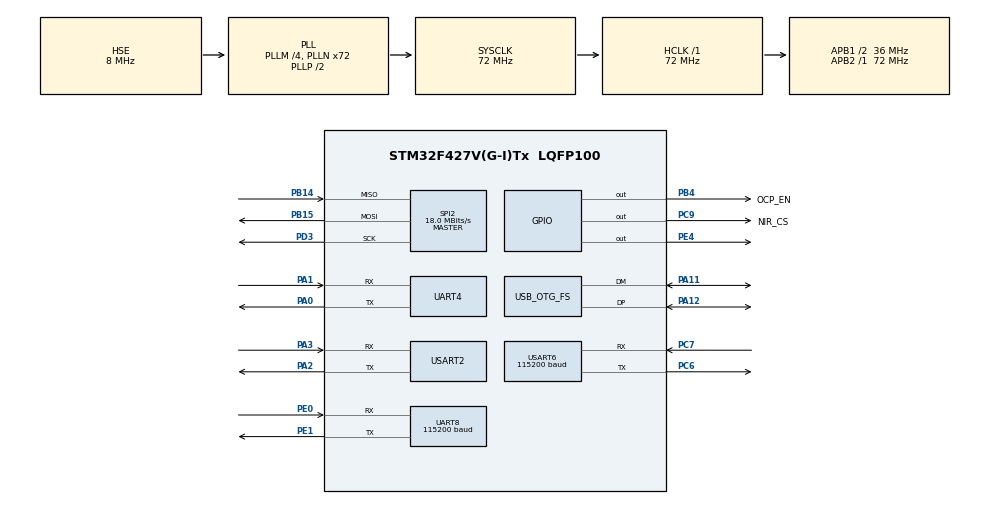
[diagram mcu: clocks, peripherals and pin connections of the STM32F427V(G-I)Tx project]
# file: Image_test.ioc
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Dma.Request0=UART8_RX
Dma.Request1=USART6_RX
Dma.UART8_RX.0.Direction=DMA_PERIPH_TO_MEMORY
Dma.UART8_RX.0.FIFOMode=DMA_FIFOMODE_DISABLE
Dma.UART8_RX.0.Instance=DMA1_Stream6
Dma.UART8_RX.0.MemDataAlignment=DMA_MDATAALIGN_BYTE
Dma.UART8_RX.0.MemInc=DMA_MINC_ENABLE
Dma.UART8_RX.0.Mode=DMA_NORMAL
Dma.UART8_RX.0.PeriphDataAlignment=DMA_PDATAALIGN_BYTE
Dma.UART8_RX.0.PeriphInc=DMA_PINC_DISABLE
Dma.UART8_RX.0.Priority=DMA_PRIORITY_HIGH
Dma.USART6_RX.1.Direction=DMA_PERIPH_TO_MEMORY
Dma.USART6_RX.1.FIFOMode=DMA_FIFOMODE_DISABLE
Dma.USART6_RX.1.Instance=DMA2_Stream1
Dma.USART6_RX.1.MemDataAlignment=DMA_MDATAALIGN_BYTE
Dma.USART6_RX.1.MemInc=DMA_MINC_ENABLE
Dma.USART6_RX.1.Mode=DMA_NORMAL
Dma.USART6_RX.1.PeriphDataAlignment=DMA_PDATAALIGN_BYTE
Dma.USART6_RX.1.PeriphInc=DMA_PINC_DISABLE
Dma.USART6_RX.1.Priority=DMA_PRIORITY_HIGH
Mcu.Family=STM32F4
Mcu.Name=STM32F427V(G-I)Tx
Mcu.Package=LQFP100
NVIC.DMA1_Stream6_IRQn=true\:0\:0\:false\:false\:true\:false\:true\:true
NVIC.DMA2_Stream1_IRQn=true\:0\:0\:false\:false\:true\:false\:true\:true
NVIC.OTG_FS_IRQn=true\:0\:0\:false\:false\:true\:false\:true\:true
NVIC.PriorityGroup=NVIC_PRIORITYGROUP_4
NVIC.UART8_IRQn=true\:1\:0\:true\:false\:true\:true\:true\:true
PA0/WKUP.Mode=Asynchronous
PA0/WKUP.Signal=UART4_TX
PA1.Mode=Asynchronous
PA1.Signal=UART4_RX
PA11.Mode=Device_Only
PA11.Signal=USB_OTG_FS_DM
PA12.Mode=Device_Only
PA12.Signal=USB_OTG_FS_DP
PA13.Mode=Trace_Synchro_1bit_SW
PA13.Signal=SYS_JTMS-SWDIO
PA14.Mode=Trace_Synchro_1bit_SW
PA14.Signal=SYS_JTCK-SWCLK
PA2.Mode=Asynchronous
PA2.Signal=USART2_TX
PA3.Mode=Asynchronous
PA3.Signal=USART2_RX
PB14.Mode=Full_Duplex_Master
PB14.Signal=SPI2_MISO
PB15.Mode=Full_Duplex_Master
PB15.Signal=SPI2_MOSI
PB4.GPIO_Label=OCP_EN
PB4.GPIO_Speed=GPIO_SPEED_FREQ_HIGH
PB4.Signal=GPIO_Output
PC6.Mode=Asynchronous
PC6.Signal=USART6_TX
PC7.Mode=Asynchronous
PC7.Signal=USART6_RX
PC9.GPIO_Label=NIR_CS
PC9.GPIO_Speed=GPIO_SPEED_FREQ_HIGH
PC9.Signal=GPIO_Output
PD3.Mode=Full_Duplex_Master
PD3.Signal=SPI2_SCK
PE0.Mode=Asynchronous
PE0.Signal=UART8_RX
PE1.Mode=Asynchronous
PE1.Signal=UART8_TX
PE2.Mode=Trace_Synchro_1bit_SW
PE2.Signal=SYS_TRACECLK
PE3.Mode=Trace_Synchro_1bit_SW
PE3.Signal=SYS_TRACED0
PE4.Signal=GPIO_Output
PH0/OSC_IN.Mode=HSE-External-Oscillator
PH0/OSC_IN.Signal=RCC_OSC_IN
PH1/OSC_OUT.Mode=HSE-External-Oscillator
PH1/OSC_OUT.Signal=RCC_OSC_OUT
ProjectManager.HeapSize=0x200
ProjectManager.StackSize=0x400
ProjectManager.TargetToolchain=STM32CubeIDE
RCC.48MHZClocksFreq_Value=48000000
RCC.AHBFreq_Value=72000000
RCC.APB1CLKDivider=RCC_HCLK_DIV2
RCC.APB1Freq_Value=36000000
RCC.APB1TimFreq_Value=72000000
RCC.APB2Freq_Value=72000000
RCC.APB2TimFreq_Value=72000000
RCC.CortexFreq_Value=72000000
RCC.HCLKFreq_Value=72000000
RCC.HSE_VALUE=8000000
RCC.HSI_VALUE=16000000
RCC.LSE_VALUE=32768
RCC.PLLM=4
RCC.PLLN=72
RCC.PLLQ=3
RCC.SYSCLKFreq_VALUE=72000000
RCC.SYSCLKSource=RCC_SYSCLKSOURCE_PLLCLK
RCC.VCOOutputFreq_Value=144000000
SPI2.BaudRatePrescaler=SPI_BAUDRATEPRESCALER_2
SPI2.CalculateBaudRate=18.0 MBits/s
SPI2.Direction=SPI_DIRECTION_2LINES
SPI2.Mode=SPI_MODE_MASTER
SPI2.VirtualType=VM_MASTER
UART4.VirtualMode=Asynchronous
UART8.BaudRate=115200
UART8.VirtualMode=Asynchronous
USART2.VirtualMode=VM_ASYNC
USART6.BaudRate=115200
USART6.VirtualMode=VM_ASYNC
USB_DEVICE.CLASS_NAME_FS=CDC
USB_DEVICE.VirtualMode-CDC_FS=Cdc
USB_DEVICE.VirtualModeFS=Cdc_FS
USB_OTG_FS.VirtualMode=Device_Only
VP_USB_DEVICE_VS_USB_DEVICE_CDC_FS.Mode=CDC_FS
board=custom

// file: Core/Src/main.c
/* USER CODE BEGIN Header */
/**
 ******************************************************************************
 * @file           : main.c
 * @brief          : Main program body
 ******************************************************************************
 * @attention
 *
 * Copyright (c) 2024 STMicroelectronics.
 * All rights reserved.
 *
 * This software is licensed under terms that can be found in the LICENSE file
 * in the root directory of this software component.
 * If no LICENSE file comes with this software, it is provided AS-IS.
 *
 ******************************************************************************
 */
/* USER CODE END Header */
#include "main.h"
#include "usb_device.h"

/* USER CODE BEGIN Includes */
#include "Main_config.h"
#include "functions.h"
#include "variables.h"
#include "usb_device.h"
#include "usbd_cdc_if.h"
#include <stdio.h>
#include <string.h>
#include <stdint.h>
#include <stdarg.h>
/* USER CODE END Includes */

/* USER CODE BEGIN PTD */
uint8_t rx_buffer[9];
uint8_t tx_buffer[5] = { 0x1, 0x2, 0x3, 0x4, 0x5 };

int a = 1;

/* USER CODE END PTD */

SPI_HandleTypeDef hspi2;

UART_HandleTypeDef huart4;
UART_HandleTypeDef huart8;
UART_HandleTypeDef huart2;
UART_HandleTypeDef huart6;
DMA_HandleTypeDef hdma_uart8_rx;
DMA_HandleTypeDef hdma_usart6_rx;

/* USER CODE BEGIN PV */

HAL_StatusTypeDef ret;
/* USER CODE END PV */

void SystemClock_Config(void);
static void MX_GPIO_Init(void);
static void MX_DMA_Init(void);
static void MX_UART8_Init(void);
static void MX_UART4_Init(void);
static void MX_USART6_UART_Init(void);
static void MX_SPI2_Init(void);
static void MX_USART2_UART_Init(void);
/* USER CODE BEGIN PFP */
void setup_tx_buffer() {
	strcpy((char*) tx_buffer, "HALO"); // Properly initialize tx_buffer
}

/* USER CODE END PFP */

/* USER CODE BEGIN 0 */
void HAL_UART_RxHalfCpltCallback(UART_HandleTypeDef *huart) {
	if (huart->Instance == UART8) {

	}

}

// void HAL_UART_RxCpltCallback(UART_HandleTypeDef *huart){
////	 uart_rx_done = true;
// }
//
// void HAL_UART_RxCpltCallback(UART_HandleTypeDef *huart) {
//     if (huart->Instance == UART8) {
//
//     }
// }

/* USER CODE END 0 */

int main(void)
{

  /* MCU Configuration--------------------------------------------------------*/

  /* Reset of all peripherals, Initializes the Flash interface and the Systick. */
  HAL_Init();

  /* Configure the system clock */
  SystemClock_Config();

  /* Initialize all configured peripherals */
  MX_GPIO_Init();
  MX_DMA_Init();
  MX_UART8_Init();
  MX_UART4_Init();
  MX_USART6_UART_Init();
  MX_SPI2_Init();
  MX_USART2_UART_Init();
  MX_USB_DEVICE_Init();
  /* USER CODE BEGIN 2 */
//  HAL_UART_Receive_DMA(&huart8, rx_buffer, sizeof(rx_buffer));
  /* USER CODE END 2 */

  /* Infinite loop */
  /* USER CODE BEGIN WHILE */
	while (1) {

		OCP_EN();
//		HAL_UART_Transmit(&huart2, tx_buffer ,sizeof(tx_buffer), 1000);
		//HAL_UART_Receive(&huart4, rx_buffer, sizeof(rx_buffer), 1000);

		BASIC_IMAGE_CAPTURE();
        HAL_Delay(1000);
//	  ret = HAL_ERROR;
//	  ret = HAL_UART_Transmit(&RGB_UART, tx_buffer, sizeof(tx_buffer), 1000);
//	  HAL_Delay(2000);
//	  Receive_Image_Size();  // Function call

//	  if( HAL_UART_Transmit(&RGB_UART, tx_buffer, sizeof(tx_buffer), 1000) == HAL_OK){
//		  ret = 100;
//	  }

//	  uint32_t Receive_Image_Size_RGB();

//	  HAL_Delay(1000);

//	  break;

    /* USER CODE END WHILE */

	}
}

void SystemClock_Config(void)
{
  RCC_OscInitTypeDef RCC_OscInitStruct = {0};
  RCC_ClkInitTypeDef RCC_ClkInitStruct = {0};

  /** Configure the main internal regulator output voltage
  */
  __HAL_RCC_PWR_CLK_ENABLE();
  __HAL_PWR_VOLTAGESCALING_CONFIG(PWR_REGULATOR_VOLTAGE_SCALE3);

  /** Initializes the RCC Oscillators according to the specified parameters
  * in the RCC_OscInitTypeDef structure.
  */
  RCC_OscInitStruct.OscillatorType = RCC_OSCILLATORTYPE_HSE;
  RCC_OscInitStruct.HSEState = RCC_HSE_ON;
  RCC_OscInitStruct.PLL.PLLState = RCC_PLL_ON;
  RCC_OscInitStruct.PLL.PLLSource = RCC_PLLSOURCE_HSE;
  RCC_OscInitStruct.PLL.PLLM = 4;
  RCC_OscInitStruct.PLL.PLLN = 72;
  RCC_OscInitStruct.PLL.PLLP = RCC_PLLP_DIV2;
  RCC_OscInitStruct.PLL.PLLQ = 3;
  if (HAL_RCC_OscConfig(&RCC_OscInitStruct) != HAL_OK)
  {
    Error_Handler();
  }

  /** Initializes the CPU, AHB and APB buses clocks
  */
  RCC_ClkInitStruct.ClockType = RCC_CLOCKTYPE_HCLK|RCC_CLOCKTYPE_SYSCLK
                              |RCC_CLOCKTYPE_PCLK1|RCC_CLOCKTYPE_PCLK2;
  RCC_ClkInitStruct.SYSCLKSource = RCC_SYSCLKSOURCE_PLLCLK;
  RCC_ClkInitStruct.AHBCLKDivider = RCC_SYSCLK_DIV1;
  RCC_ClkInitStruct.APB1CLKDivider = RCC_HCLK_DIV2;
  RCC_ClkInitStruct.APB2CLKDivider = RCC_HCLK_DIV1;

  if (HAL_RCC_ClockConfig(&RCC_ClkInitStruct, FLASH_LATENCY_2) != HAL_OK)
  {
    Error_Handler();
  }
}

static void MX_SPI2_Init(void)
{

  /* SPI2 parameter configuration*/
  hspi2.Instance = SPI2;
  hspi2.Init.Mode = SPI_MODE_MASTER;
  hspi2.Init.Direction = SPI_DIRECTION_2LINES;
  hspi2.Init.DataSize = SPI_DATASIZE_8BIT;
  hspi2.Init.CLKPolarity = SPI_POLARITY_LOW;
  hspi2.Init.CLKPhase = SPI_PHASE_1EDGE;
  hspi2.Init.NSS = SPI_NSS_SOFT;
  hspi2.Init.BaudRatePrescaler = SPI_BAUDRATEPRESCALER_2;
  hspi2.Init.FirstBit = SPI_FIRSTBIT_MSB;
  hspi2.Init.TIMode = SPI_TIMODE_DISABLE;
  hspi2.Init.CRCCalculation = SPI_CRCCALCULATION_DISABLE;
  hspi2.Init.CRCPolynomial = 10;
  if (HAL_SPI_Init(&hspi2) != HAL_OK)
  {
    Error_Handler();
  }

}

static void MX_UART4_Init(void)
{

  huart4.Instance = UART4;
  huart4.Init.BaudRate = 115200;
  huart4.Init.WordLength = UART_WORDLENGTH_8B;
  huart4.Init.StopBits = UART_STOPBITS_1;
  huart4.Init.Parity = UART_PARITY_NONE;
  huart4.Init.Mode = UART_MODE_TX_RX;
  huart4.Init.HwFlowCtl = UART_HWCONTROL_NONE;
  huart4.Init.OverSampling = UART_OVERSAMPLING_16;
  if (HAL_UART_Init(&huart4) != HAL_OK)
  {
    Error_Handler();
  }

}

static void MX_UART8_Init(void)
{

  huart8.Instance = UART8;
  huart8.Init.BaudRate = 115200;
  huart8.Init.WordLength = UART_WORDLENGTH_8B;
  huart8.Init.StopBits = UART_STOPBITS_1;
  huart8.Init.Parity = UART_PARITY_NONE;
  huart8.Init.Mode = UART_MODE_TX_RX;
  huart8.Init.HwFlowCtl = UART_HWCONTROL_NONE;
  huart8.Init.OverSampling = UART_OVERSAMPLING_16;
  if (HAL_UART_Init(&huart8) != HAL_OK)
  {
    Error_Handler();
  }

}

static void MX_USART2_UART_Init(void)
{

  huart2.Instance = USART2;
  huart2.Init.BaudRate = 115200;
  huart2.Init.WordLength = UART_WORDLENGTH_8B;
  huart2.Init.StopBits = UART_STOPBITS_1;
  huart2.Init.Parity = UART_PARITY_NONE;
  huart2.Init.Mode = UART_MODE_TX_RX;
  huart2.Init.HwFlowCtl = UART_HWCONTROL_NONE;
  huart2.Init.OverSampling = UART_OVERSAMPLING_16;
  if (HAL_UART_Init(&huart2) != HAL_OK)
  {
    Error_Handler();
  }

}

static void MX_USART6_UART_Init(void)
{

  huart6.Instance = USART6;
  huart6.Init.BaudRate = 115200;
  huart6.Init.WordLength = UART_WORDLENGTH_8B;
  huart6.Init.StopBits = UART_STOPBITS_1;
  huart6.Init.Parity = UART_PARITY_NONE;
  huart6.Init.Mode = UART_MODE_TX_RX;
  huart6.Init.HwFlowCtl = UART_HWCONTROL_NONE;
  huart6.Init.OverSampling = UART_OVERSAMPLING_16;
  if (HAL_UART_Init(&huart6) != HAL_OK)
  {
    Error_Handler();
  }

}

static void MX_DMA_Init(void)
{

  /* DMA controller clock enable */
  __HAL_RCC_DMA1_CLK_ENABLE();
  __HAL_RCC_DMA2_CLK_ENABLE();

  /* DMA interrupt init */
  /* DMA1_Stream6_IRQn interrupt configuration */
  HAL_NVIC_SetPriority(DMA1_Stream6_IRQn, 0, 0);
  HAL_NVIC_EnableIRQ(DMA1_Stream6_IRQn);
  /* DMA2_Stream1_IRQn interrupt configuration */
  HAL_NVIC_SetPriority(DMA2_Stream1_IRQn, 0, 0);
  HAL_NVIC_EnableIRQ(DMA2_Stream1_IRQn);

}

static void MX_GPIO_Init(void)
{
  GPIO_InitTypeDef GPIO_InitStruct = {0};

  /* GPIO Ports Clock Enable */
  __HAL_RCC_GPIOE_CLK_ENABLE();
  __HAL_RCC_GPIOH_CLK_ENABLE();
  __HAL_RCC_GPIOA_CLK_ENABLE();
  __HAL_RCC_GPIOB_CLK_ENABLE();
  __HAL_RCC_GPIOC_CLK_ENABLE();
  __HAL_RCC_GPIOD_CLK_ENABLE();

  /*Configure GPIO pin Output Level */
  HAL_GPIO_WritePin(GPIOE, GPIO_PIN_4, GPIO_PIN_RESET);

  /*Configure GPIO pin Output Level */
  HAL_GPIO_WritePin(NIR_CS_GPIO_Port, NIR_CS_Pin, GPIO_PIN_RESET);

  /*Configure GPIO pin Output Level */
  HAL_GPIO_WritePin(OCP_EN_GPIO_Port, OCP_EN_Pin, GPIO_PIN_RESET);

  /*Configure GPIO pin : PE4 */
  GPIO_InitStruct.Pin = GPIO_PIN_4;
  GPIO_InitStruct.Mode = GPIO_MODE_OUTPUT_PP;
  GPIO_InitStruct.Pull = GPIO_NOPULL;
  GPIO_InitStruct.Speed = GPIO_SPEED_FREQ_LOW;
  HAL_GPIO_Init(GPIOE, &GPIO_InitStruct);

  /*Configure GPIO pin : NIR_CS_Pin */
  GPIO_InitStruct.Pin = NIR_CS_Pin;
  GPIO_InitStruct.Mode = GPIO_MODE_OUTPUT_PP;
  GPIO_InitStruct.Pull = GPIO_NOPULL;
  GPIO_InitStruct.Speed = GPIO_SPEED_FREQ_HIGH;
  HAL_GPIO_Init(NIR_CS_GPIO_Port, &GPIO_InitStruct);

  /*Configure GPIO pin : OCP_EN_Pin */
  GPIO_InitStruct.Pin = OCP_EN_Pin;
  GPIO_InitStruct.Mode = GPIO_MODE_OUTPUT_PP;
  GPIO_InitStruct.Pull = GPIO_NOPULL;
  GPIO_InitStruct.Speed = GPIO_SPEED_FREQ_HIGH;
  HAL_GPIO_Init(OCP_EN_GPIO_Port, &GPIO_InitStruct);

}

/* USER CODE BEGIN 4 */

//void HAL_UART_RxCpltCallback(UART_HandleTypeDef *huart){
//	if (huart == &RGB_UART){
//	    RGB_CAM_RX_FLAG = 1;
//	  }
//}
//void HAL_UART_TxCpltCallback(UART_HandleTypeDef *huart){
//	if (huart == &DEBUG_UART) {
//			DEBUG_TX_FLAG = 1;
//		}
//}
/* USER CODE END 4 */

void Error_Handler(void)
{
	__disable_irq();
	while (1) {
	}
}
